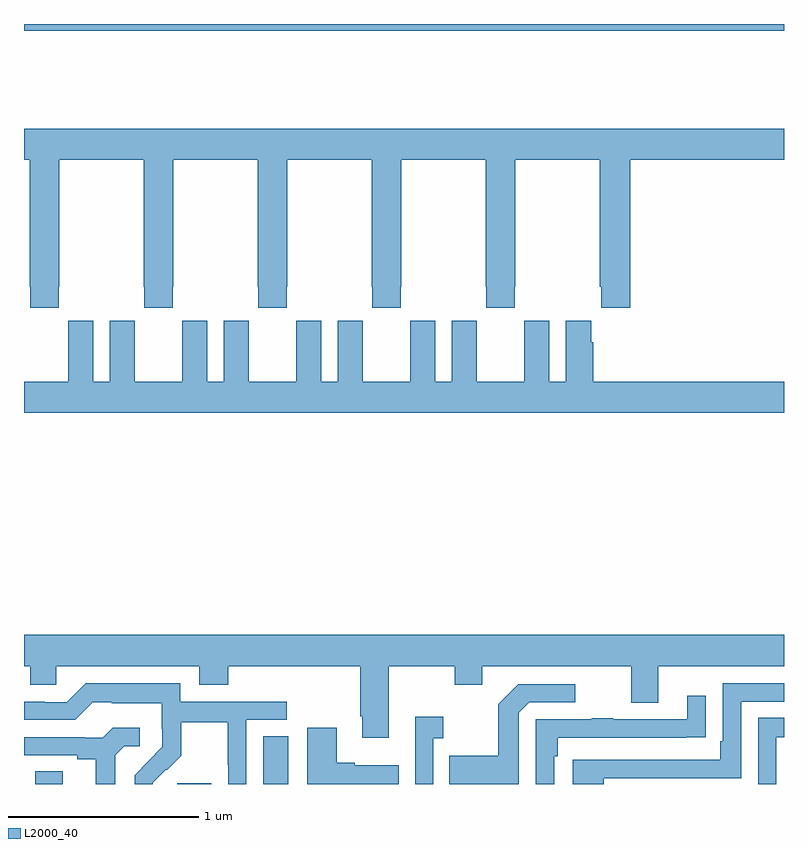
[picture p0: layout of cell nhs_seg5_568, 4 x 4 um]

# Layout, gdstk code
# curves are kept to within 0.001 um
import gdstk
lib = gdstk.Library(unit=1e-6, precision=1e-09)
def R(c, l, rs):  # rectangles x0, y0, x1, y1
    for r in rs: c.add(gdstk.rectangle(r[:2], r[2:], *l))
def P(c, l, *ps):  # polygons
    for p in ps: c.add(gdstk.Polygon(p, *l))
L2000_40 = (2000, 40)

nhs_seg5_568 = lib.new_cell('nhs_seg5_568')
R(nhs_seg5_568, L2000_40, [(147.06,862.799,147.205,862.865), (147.806,862.799,147.985,862.803), (148.259,862.799,148.39,863.051), (147,866.764,151,866.799)])
P(nhs_seg5_568, L2000_40, [(147.183,865.417),(147.186,865.417),(147.186,866.084),(147.631,866.084),(147.631,865.417),(147.633,865.417),(147.633,865.305),(147.783,865.305),(147.783,865.417),(147.786,865.417),(147.786,866.084),(148.231,866.084),(148.231,865.417),(148.233,865.417),(148.233,865.305),(148.383,865.305),(148.383,865.417),(148.386,865.417),(148.386,866.084),(148.831,866.084),(148.831,865.417),(148.833,865.417),(148.833,865.305),(148.983,865.305),(148.983,865.417),(148.986,865.417),(148.986,866.084),(149.431,866.084),(149.431,865.417),(149.433,865.417),(149.433,865.305),(149.583,865.305),(149.583,865.417),(149.586,865.417),(149.586,866.084),(150.031,866.084),(150.031,865.417),(150.037,865.417),(150.037,865.305),(150.191,865.305),(150.191,866.084),(151,866.084),(151,866.248),(147,866.248),(147,866.084),(147.031,866.084),(147.031,865.417),(147.033,865.417),(147.033,865.305),(147.183,865.305)],
  [(151,864.916),(149.996,864.916),(149.996,865.124),(149.986,865.124),(149.986,865.237),(149.852,865.237),(149.852,864.916),(149.764,864.916),(149.764,865.237),(149.634,865.237),(149.634,865.124),(149.633,865.124),(149.633,864.916),(149.383,864.916),(149.383,865.124),(149.382,865.124),(149.382,865.237),(149.252,865.237),(149.252,864.916),(149.164,864.916),(149.164,865.237),(149.034,865.237),(149.034,865.124),(149.033,865.124),(149.033,864.916),(148.783,864.916),(148.783,865.124),(148.782,865.124),(148.782,865.237),(148.652,865.237),(148.652,864.916),(148.564,864.916),(148.564,865.237),(148.434,865.237),(148.434,865.124),(148.433,865.124),(148.433,864.916),(148.183,864.916),(148.183,865.124),(148.182,865.124),(148.182,865.237),(148.052,865.237),(148.052,864.916),(147.964,864.916),(147.964,865.237),(147.834,865.237),(147.834,865.124),(147.833,865.124),(147.833,864.916),(147.583,864.916),(147.583,865.124),(147.582,865.124),(147.582,865.237),(147.452,865.237),(147.452,864.916),(147.364,864.916),(147.364,865.237),(147.234,865.237),(147.234,865.124),(147.233,865.124),(147.233,864.916),(147,864.916),(147,864.752),(151,864.752)],
  [(148.921,863.42),(149.266,863.42),(149.266,863.321),(149.413,863.321),(149.413,863.42),(150.197,863.42),(150.197,863.226),(150.337,863.226),(150.337,863.42),(151,863.42),(151,863.584),(147,863.584),(147,863.42),(147.033,863.42),(147.033,863.322),(147.171,863.322),(147.171,863.42),(147.923,863.42),(147.923,863.321),(148.076,863.321),(148.076,863.42),(148.769,863.42),(148.769,863.155),(148.781,863.155),(148.781,863.043),(148.921,863.043)],
  [(147.677,862.805),(147.747,862.875),(147.75,862.872),(147.827,862.949),(147.827,863.124),(148.072,863.124),(148.072,862.9),(148.074,862.9),(148.074,862.799),(148.17,862.799),(148.17,863.136),(148.384,863.136),(148.384,863.232),(147.822,863.232),(147.822,863.329),(147.325,863.329),(147.225,863.229),(147.11,863.229),(147.11,863.232),(147,863.232),(147,863.136),(147.27,863.136),(147.363,863.229),(147.463,863.229),(147.463,863.225),(147.726,863.225),(147.726,863.091),(147.728,863.091),(147.728,862.994),(147.582,862.846),(147.582,862.799),(147.677,862.799)],
  [(150.05,862.83),(150.774,862.83),(150.774,863.232),(151,863.232),(151,863.328),(150.678,863.328),(150.678,863.023),(150.665,863.023),(150.665,862.926),(149.889,862.926),(149.889,862.799),(150.05,862.799)],
  [(149.604,863.175),(149.658,863.229),(149.902,863.229),(149.902,863.325),(149.601,863.325),(149.496,863.219),(149.496,862.947),(149.239,862.947),(149.239,862.799),(149.604,862.799)],
  [(149.79,862.946),(149.81,862.946),(149.81,863.043),(150.485,863.043),(150.485,863.044),(150.587,863.044),(150.587,863.263),(150.491,863.263),(150.491,863.139),(150.101,863.139),(150.101,863.144),(149.989,863.144),(149.989,863.139),(149.694,863.139),(149.694,862.799),(149.79,862.799)],
  [(149.154,863.039),(149.206,863.039),(149.206,863.152),(149.058,863.152),(149.058,862.799),(149.154,862.799)],
  [(150.96,863.046),(151,863.046),(151,863.147),(150.864,863.147),(150.864,862.799),(150.96,862.799)],
  [(148.972,862.897),(148.741,862.897),(148.741,862.91),(148.645,862.91),(148.645,863.095),(148.49,863.095),(148.49,862.799),(148.972,862.799)],
  [(147.481,862.951),(147.528,862.998),(147.61,862.998),(147.61,863.095),(147.466,863.095),(147.414,863.043),(147.32,863.043),(147.32,863.046),(147,863.046),(147,862.95),(147.281,862.95),(147.281,862.928),(147.377,862.928),(147.377,862.799),(147.481,862.799)])

lib.write_gds('nhs_seg5_568.gds')
